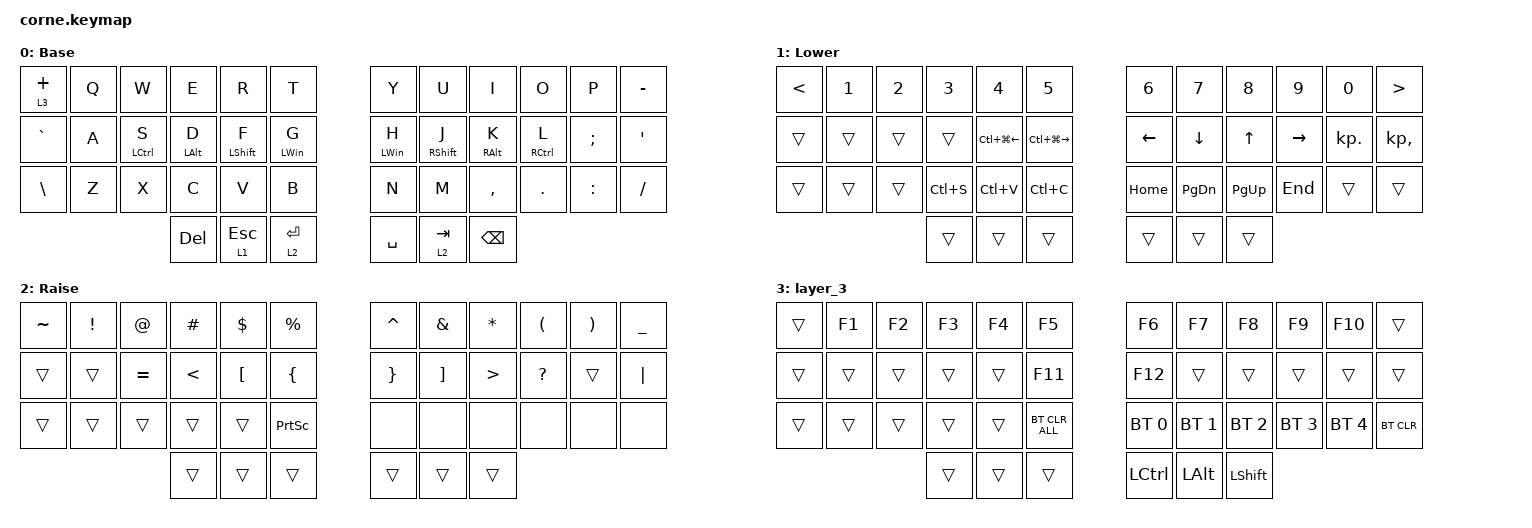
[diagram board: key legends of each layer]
/*
 * Copyright (c) 2020 The ZMK Contributors
 *
 * SPDX-License-Identifier: MIT
 */

#include <behaviors.dtsi>
#include <dt-bindings/zmk/bt.h>
#include <dt-bindings/zmk/keys.h>

/ {
    behaviors {
        HMR: HMR {
            compatible = "zmk,behavior-hold-tap";
            label = "HMR";
            bindings = <&kp>, <&kp>;

            #binding-cells = <2>;
            tapping-term-ms = <280>;
            quick-tap-ms = <175>;
            flavor = "tap-preferred";
            hold-trigger-key-positions = <0 1 2 3 4 5 12 13 14 15 16 17 24 25 26 27 28 29 36 37 38 39 40 41>;
            hold-trigger-on-release;
        };

        HML: HML {
            compatible = "zmk,behavior-hold-tap";
            label = "HML";
            bindings = <&kp>, <&kp>;

            #binding-cells = <2>;
            tapping-term-ms = <280>;
            quick-tap-ms = <175>;
            flavor = "tap-preferred";
            hold-trigger-on-release;
            hold-trigger-key-positions = <36 37 38 6 7 8 9 10 11 18 19 20 21 22 23 30 31 32 33 34 35 39 40 41>;
        };
    };

    combos {
        compatible = "zmk,combos";

        left_scobe {
            bindings = <&kp LEFT_PARENTHESIS>;
            key-positions = <4 5>;
        };

        left_kv_scobe {
            bindings = <&kp LEFT_BRACKET>;
            key-positions = <16 17>;
        };

        left_fig_scobe {
            bindings = <&kp LEFT_BRACE>;
            key-positions = <28 29>;
        };

        right_scobe {
            bindings = <&kp RIGHT_PARENTHESIS>;
            key-positions = <6 7>;
        };

        right_kv_scobe {
            bindings = <&kp RIGHT_BRACKET>;
            key-positions = <18 19>;
        };

        right_fig_scobe {
            bindings = <&kp RIGHT_BRACE>;
            key-positions = <30 31>;
        };

        equals {
            bindings = <&kp EQUAL>;
            key-positions = <5 6>;
        };

        copy {
            bindings = <&kp LC(C)>;
            key-positions = <17 18>;
        };

        paste {
            bindings = <&kp LC(V)>;
            key-positions = <30 29>;
        };
    };

    keymap {
        compatible = "zmk,keymap";

        default_layer {
            // -----------------------------------------------------------------------------------------
            // |  TAB |  Q  |  W  |  E  |  R  |  T  |   |  Y  |  U   |  I  |  O  |  P  | BKSP |
            // | CTRL |  A  |  S  |  D  |  F  |  G  |   |  H  |  J   |  K  |  L  |  ;  |  '   |
            // | SHFT |  Z  |  X  |  C  |  V  |  B  |   |  N  |  M   |  ,  |  .  |  /  | ESC  |
            //                    | GUI | LWR | SPC |   | ENT | RSE  | ALT |

            display-name = "Base";
            bindings = <
&lt 3 PLUS     &kp Q  &kp W         &kp E            &kp R              &kp T              &kp Y            &kp U               &kp I             &kp O         &kp P          &kp MINUS
&kp GRAVE      &kp A  &HML LCTRL S  &HML LEFT_ALT D  &HML LEFT_SHIFT F  &HML LEFT_WIN G    &HMR LEFT_WIN H  &HMR RIGHT_SHIFT J  &HMR RIGHT_ALT K  &HMR RCTRL L  &kp SEMICOLON  &kp SQT
&kp BACKSLASH  &kp Z  &kp X         &kp C            &kp V              &kp B              &kp N            &kp M               &kp COMMA         &kp DOT       &kp COLON      &kp FSLH
                                    &kp DELETE       &lt 1 ESCAPE       &lt 2 ENTER        &kp SPACE        &lt 2 TAB           &kp BACKSPACE
            >;
        };

        lower_layer {
            // -----------------------------------------------------------------------------------------
            // |  TAB |  1  |  2  |  3  |  4  |  5  |   |  6  |  7  |  8  |  9  |  0  | BKSP |
            // | BTCLR| BT1 | BT2 | BT3 | BT4 | BT5 |   | LFT | DWN |  UP | RGT |     |      |
            // | SHFT |     |     |     |     |     |   |     |     |     |     |     |      |
            //                    | GUI |     | SPC |   | ENT |     | ALT |

            display-name = "Lower";
            bindings = <
&kp LESS_THAN  &kp NUMBER_1  &kp NUMBER_2  &kp NUMBER_3  &kp NUMBER_4            &kp N5               &kp NUMBER_6  &kp N7          &kp N8        &kp N9     &kp N0      &kp GREATER_THAN
&trans         &trans        &trans        &trans        &kp LC(LG(LEFT_ARROW))  &kp LC(LG(RIGHT))    &kp LEFT      &kp DOWN_ARROW  &kp UP_ARROW  &kp RIGHT  &kp KP_DOT  &kp KP_COMMA
&trans         &trans        &trans        &kp LC(S)     &kp LC(V)               &kp LC(C)            &kp HOME      &kp PAGE_DOWN   &kp PAGE_UP   &kp END    &trans      &trans
                                           &trans        &trans                  &trans               &trans        &trans          &trans
            >;
        };

        raise_layer {
            // -----------------------------------------------------------------------------------------
            // |  TAB |  !  |  @  |  #  |  $  |  %  |   |  ^  |  &  |  *  |  (  |  )  | BKSP |
            // | CTRL |     |     |     |     |     |   |  -  |  =  |  [  |  ]  |  \  |  `   |
            // | SHFT |     |     |     |     |     |   |  _  |  +  |  {  |  }  | "|" |  ~   |
            //                    | GUI |     | SPC |   | ENT |     | ALT |

            display-name = "Raise";
            bindings = <
&kp TILDE  &kp EXCLAMATION  &kp AT_SIGN  &kp HASH       &kp DOLLAR        &kp PERCENT        &kp CARET        &kp AMPERSAND      &kp ASTERISK      &kp LEFT_PARENTHESIS  &kp RIGHT_PARENTHESIS  &kp UNDERSCORE
&trans     &trans           &kp EQUAL    &kp LESS_THAN  &kp LEFT_BRACKET  &kp LEFT_BRACE     &kp RIGHT_BRACE  &kp RIGHT_BRACKET  &kp GREATER_THAN  &kp QUESTION          &trans                 &kp PIPE
&trans     &trans           &trans       &trans         &trans            &kp PRINTSCREEN    &none            &none              &none             &none                 &none                  &none
                                         &trans         &trans            &trans             &trans           &trans             &trans
            >;
        };

        layer_3 {
            bindings = <
&trans  &kp F1  &kp F2  &kp F3  &kp F4  &kp F5            &kp F6        &kp F7        &kp F8          &kp F9        &kp F10       &trans
&trans  &trans  &trans  &trans  &trans  &kp F11           &kp F12       &trans        &trans          &trans        &trans        &trans
&trans  &trans  &trans  &trans  &trans  &bt BT_CLR_ALL    &bt BT_SEL 0  &bt BT_SEL 1  &bt BT_SEL 2    &bt BT_SEL 3  &bt BT_SEL 4  &bt BT_CLR
                        &trans  &trans  &trans            &kp LCTRL     &kp LEFT_ALT  &kp LEFT_SHIFT
            >;
        };
    };
};
